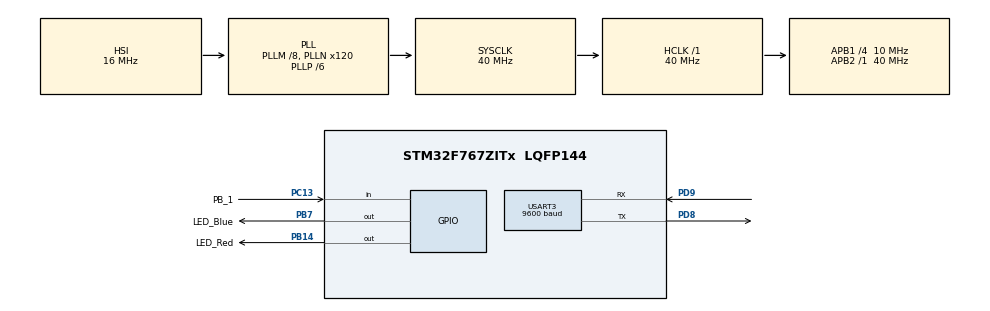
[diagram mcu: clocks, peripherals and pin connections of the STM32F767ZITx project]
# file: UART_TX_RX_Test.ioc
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Dma.Request0=USART3_RX
Dma.USART3_RX.0.Direction=DMA_PERIPH_TO_MEMORY
Dma.USART3_RX.0.FIFOMode=DMA_FIFOMODE_DISABLE
Dma.USART3_RX.0.Instance=DMA1_Stream1
Dma.USART3_RX.0.MemDataAlignment=DMA_MDATAALIGN_BYTE
Dma.USART3_RX.0.MemInc=DMA_MINC_ENABLE
Dma.USART3_RX.0.Mode=DMA_NORMAL
Dma.USART3_RX.0.PeriphDataAlignment=DMA_PDATAALIGN_BYTE
Dma.USART3_RX.0.PeriphInc=DMA_PINC_DISABLE
Dma.USART3_RX.0.Priority=DMA_PRIORITY_LOW
Mcu.Family=STM32F7
Mcu.Name=STM32F767ZITx
Mcu.Package=LQFP144
NVIC.DMA1_Stream1_IRQn=true\:0\:0\:false\:false\:true\:false\:true\:true
NVIC.PriorityGroup=NVIC_PRIORITYGROUP_4
NVIC.USART3_IRQn=true\:0\:0\:false\:false\:true\:true\:true\:true
PA13.Mode=Serial_Wire
PA13.Signal=SYS_JTMS-SWDIO
PA14.Mode=Serial_Wire
PA14.Signal=SYS_JTCK-SWCLK
PB14.GPIO_Label=LED_Red
PB14.Signal=GPIO_Output
PB7.GPIO_Label=LED_Blue
PB7.GPIO_Speed=GPIO_SPEED_FREQ_MEDIUM
PB7.Signal=GPIO_Output
PC13.GPIO_Label=PB_1
PC13.Signal=GPIO_Input
PD8.Mode=Asynchronous
PD8.Signal=USART3_TX
PD9.Mode=Asynchronous
PD9.Signal=USART3_RX
ProjectManager.HeapSize=0x200
ProjectManager.StackSize=0x400
ProjectManager.TargetToolchain=STM32CubeIDE
RCC.AHBFreq_Value=40000000
RCC.APB1CLKDivider=RCC_HCLK_DIV4
RCC.APB1Freq_Value=10000000
RCC.APB1TimFreq_Value=20000000
RCC.APB2Freq_Value=40000000
RCC.APB2TimFreq_Value=40000000
RCC.CortexFreq_Value=40000000
RCC.HCLKFreq_Value=40000000
RCC.HSE_VALUE=4000000
RCC.HSI_VALUE=16000000
RCC.LSE_VALUE=32768
RCC.PLLM=8
RCC.PLLN=120
RCC.PLLP=RCC_PLLP_DIV6
RCC.PLLQ=4
RCC.SYSCLKFreq_VALUE=40000000
RCC.SYSCLKSource=RCC_SYSCLKSOURCE_PLLCLK
RCC.USBFreq_Value=60000000
RCC.VCOOutputFreq_Value=240000000
USART3.BaudRate=9600
USART3.OneBitSampling=UART_ONE_BIT_SAMPLE_ENABLE
USART3.OverSampling=UART_OVERSAMPLING_8
USART3.VirtualMode-Asynchronous=VM_ASYNC
board=custom

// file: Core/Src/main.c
/* USER CODE BEGIN Header */
/**
  ******************************************************************************
  * @file           : main.c
  * @brief          : Main program body
  ******************************************************************************
  * @attention
  *
  * Copyright (c) 2023 STMicroelectronics.
  * All rights reserved.
  *
  * This software is licensed under terms that can be found in the LICENSE file
  * in the root directory of this software component.
  * If no LICENSE file comes with this software, it is provided AS-IS.
  *
  ******************************************************************************
  */
/* USER CODE END Header */
#include "main.h"
#include "usart.h"
#include "gpio.h"

/* USER CODE BEGIN PV */
uint8_t txBuffer[13] = {'H', 'e', 'l', 'l', 'o', ' ', 'W', 'o', 'r', 'l', 'd','\r','\n'};
uint8_t rxBuffer[3] ;
HAL_StatusTypeDef txStatus; //return status on tranmit for debugging
HAL_StatusTypeDef rxStatus; //return status on receive for debugging
/* USER CODE END PV */

void SystemClock_Config(void);

int main(void)
{

  /* MCU Configuration--------------------------------------------------------*/

  /* Reset of all peripherals, Initializes the Flash interface and the Systick. */
  HAL_Init();

  /* Configure the system clock */
  SystemClock_Config();

  /* Initialize all configured peripherals */
  MX_GPIO_Init();
  MX_USART3_UART_Init();
  /* USER CODE BEGIN 2 */
	//Reset LEDS and prepare tx and rx error catchers
	HAL_GPIO_WritePin(LED_Red_GPIO_Port, LED_Red_Pin, GPIO_PIN_RESET);
	HAL_GPIO_WritePin(LED_Blue_GPIO_Port, LED_Blue_Pin, GPIO_PIN_RESET);

  /* USER CODE END 2 */

  /* Infinite loop */
  /* USER CODE BEGIN WHILE */
  while (1)
  {
//	  * @ brief Send an amount of data in blocking mode.
//* @ note   When UART parity is not enabled(PCE = 0), and Word Length is configured to 9 bits(M1 - M0 = 01),
//*         the sent data is handled as a set of u16.In this case, Size must indicate the number
//*         of u16 provided through pData.
//* @ param huart   UART handle.
//* @ param pData   Pointer to data buffer(u8 or u16 data elements).
//* @ param Size    Amount of data elements(u8 or u16) to be sent.
//* @ param Timeout Timeout duration.

		//HAL_StatusTypeDef
		//HAL_OK       = 0x00U,
		//HAL_ERROR    = 0x01U,
		//HAL_BUSY     = 0x02U,
		//HAL_TIMEOUT  = 0x03U
	//HAL_Delay(500);
	//HAL_GPIO_WritePin(LED_Blue_GPIO_Port, LED_Blue_Pin, GPIO_PIN_SET);
	  txStatus = HAL_UART_Transmit(&huart3, txBuffer, sizeof(txBuffer) / sizeof(txBuffer[0]), 100);
	  rxStatus = HAL_UART_Receive(&huart3, rxBuffer, sizeof(rxBuffer) / sizeof(rxBuffer[0]), 500);
	if(txStatus != HAL_OK)
		Error_Handler();
	//HAL_Delay(1);
	//HAL_GPIO_WritePin(LED_Blue_GPIO_Port, LED_Blue_Pin, GPIO_PIN_RESET);
	  HAL_GPIO_TogglePin(LED_Blue_GPIO_Port, LED_Blue_Pin);
    /* USER CODE END WHILE */

  }
}

void SystemClock_Config(void)
{
  RCC_OscInitTypeDef RCC_OscInitStruct = {0};
  RCC_ClkInitTypeDef RCC_ClkInitStruct = {0};

  /** Configure the main internal regulator output voltage
  */
  __HAL_RCC_PWR_CLK_ENABLE();
  __HAL_PWR_VOLTAGESCALING_CONFIG(PWR_REGULATOR_VOLTAGE_SCALE3);

  /** Initializes the RCC Oscillators according to the specified parameters
  * in the RCC_OscInitTypeDef structure.
  */
  RCC_OscInitStruct.OscillatorType = RCC_OSCILLATORTYPE_HSI;
  RCC_OscInitStruct.HSIState = RCC_HSI_ON;
  RCC_OscInitStruct.HSICalibrationValue = RCC_HSICALIBRATION_DEFAULT;
  RCC_OscInitStruct.PLL.PLLState = RCC_PLL_ON;
  RCC_OscInitStruct.PLL.PLLSource = RCC_PLLSOURCE_HSI;
  RCC_OscInitStruct.PLL.PLLM = 8;
  RCC_OscInitStruct.PLL.PLLN = 120;
  RCC_OscInitStruct.PLL.PLLP = RCC_PLLP_DIV6;
  RCC_OscInitStruct.PLL.PLLQ = 4;
  RCC_OscInitStruct.PLL.PLLR = 2;
  if (HAL_RCC_OscConfig(&RCC_OscInitStruct) != HAL_OK)
  {
    Error_Handler();
  }

  /** Initializes the CPU, AHB and APB buses clocks
  */
  RCC_ClkInitStruct.ClockType = RCC_CLOCKTYPE_HCLK|RCC_CLOCKTYPE_SYSCLK
                              |RCC_CLOCKTYPE_PCLK1|RCC_CLOCKTYPE_PCLK2;
  RCC_ClkInitStruct.SYSCLKSource = RCC_SYSCLKSOURCE_PLLCLK;
  RCC_ClkInitStruct.AHBCLKDivider = RCC_SYSCLK_DIV1;
  RCC_ClkInitStruct.APB1CLKDivider = RCC_HCLK_DIV4;
  RCC_ClkInitStruct.APB2CLKDivider = RCC_HCLK_DIV1;

  if (HAL_RCC_ClockConfig(&RCC_ClkInitStruct, FLASH_LATENCY_1) != HAL_OK)
  {
    Error_Handler();
  }
}

void Error_Handler(void)
{
  /* USER CODE BEGIN Error_Handler_Debug */
  /* User can add his own implementation to report the HAL error return state */
  __disable_irq();
	HAL_GPIO_WritePin(LED_Red_GPIO_Port, LED_Red_Pin, GPIO_PIN_RESET);
	HAL_GPIO_WritePin(LED_Blue_GPIO_Port, LED_Blue_Pin, GPIO_PIN_RESET);
  while (1)
  {
	  //Display Debug Light
	  HAL_GPIO_TogglePin(LED_Red_GPIO_Port, LED_Red_Pin);
	  HAL_Delay(200);
  }
  /* USER CODE END Error_Handler_Debug */
}
